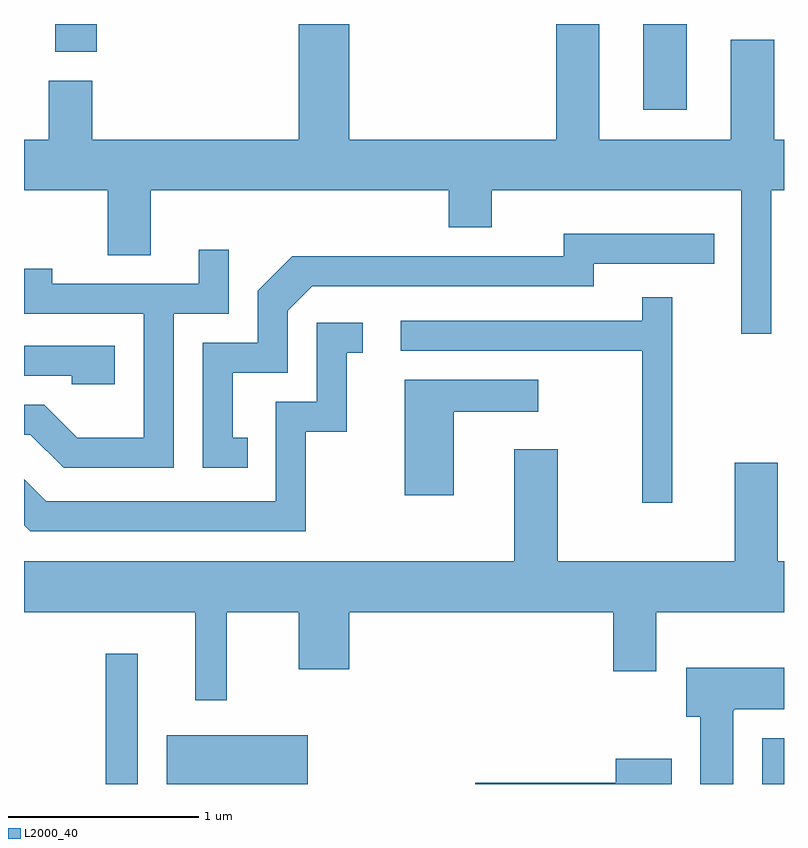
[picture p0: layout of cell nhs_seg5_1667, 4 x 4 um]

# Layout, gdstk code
import gdstk
lib = gdstk.Library(unit=1e-6, precision=1e-09)
def R(c, l, rs):  # rectangles x0, y0, x1, y1
    for r in rs: c.add(gdstk.rectangle(r[:2], r[2:], *l))
def P(c, l, *ps):  # polygons
    for p in ps: c.add(gdstk.Polygon(p, *l))
L2000_40 = (2000, 40)

nhs_seg5_1667 = lib.new_cell('nhs_seg5_1667')
R(nhs_seg5_1667, L2000_40, [(234.041,1498.072,234.209,1498.758), (234.361,1498.072,235.104,1498.329), (237.496,1498.072,237.611,1498.314), (236.871,1501.621,237.099,1502.072), (233.776,1501.926,233.994,1502.072)])
P(nhs_seg5_1667, L2000_40, [(237.331,1501.464),(236.639,1501.464),(236.639,1502.072),(236.411,1502.072),(236.411,1501.464),(235.324,1501.464),(235.324,1502.072),(235.056,1502.072),(235.056,1501.464),(233.969,1501.464),(233.969,1501.774),(233.741,1501.774),(233.741,1501.464),(233.611,1501.464),(233.611,1501.196),(234.051,1501.196),(234.051,1500.856),(234.279,1500.856),(234.279,1501.196),(235.846,1501.196),(235.846,1501.001),(236.074,1501.001),(236.074,1501.196),(237.386,1501.196),(237.386,1500.443),(237.544,1500.443),(237.544,1501.196),(237.611,1501.196),(237.611,1501.464),(237.559,1501.464),(237.559,1501.989),(237.331,1501.989)],
  [(234.788,1499.894),(234.709,1499.894),(234.709,1500.236),(234.999,1500.236),(234.999,1500.564),(235.127,1500.691),(236.609,1500.691),(236.609,1500.811),(237.243,1500.811),(237.243,1500.969),(236.451,1500.969),(236.451,1500.849),(235.024,1500.849),(234.841,1500.667),(234.841,1500.394),(234.551,1500.394),(234.551,1499.736),(234.788,1499.736)],
  [(234.399,1500.546),(234.689,1500.546),(234.689,1500.883),(234.531,1500.883),(234.531,1500.704),(233.759,1500.704),(233.759,1500.783),(233.611,1500.783),(233.611,1500.546),(234.241,1500.546),(234.241,1499.894),(233.892,1499.894),(233.717,1500.069),(233.611,1500.069),(233.611,1499.911),(233.644,1499.911),(233.819,1499.736),(234.399,1499.736)],
  [(237.024,1500.633),(236.866,1500.633),(236.866,1500.509),(235.593,1500.509),(235.593,1500.351),(236.866,1500.351),(236.866,1499.553),(237.024,1499.553)],
  [(235.094,1499.926),(235.309,1499.926),(235.309,1500.341),(235.393,1500.341),(235.393,1500.499),(235.151,1500.499),(235.151,1500.084),(234.936,1500.084),(234.936,1499.559),(233.727,1499.559),(233.611,1499.675),(233.611,1499.434),(233.644,1499.401),(235.094,1499.401)],
  [(234.089,1500.379),(233.611,1500.379),(233.611,1500.221),(233.861,1500.221),(233.861,1500.176),(234.089,1500.176)],
  [(235.874,1500.031),(236.318,1500.031),(236.318,1500.199),(235.616,1500.199),(235.616,1499.591),(235.874,1499.591)],
  [(233.611,1498.976),(234.511,1498.976),(234.511,1498.513),(234.679,1498.513),(234.679,1498.976),(235.056,1498.976),(235.056,1498.676),(235.324,1498.676),(235.324,1498.976),(236.711,1498.976),(236.711,1498.666),(236.939,1498.666),(236.939,1498.976),(237.611,1498.976),(237.611,1499.244),(237.579,1499.244),(237.579,1499.764),(237.351,1499.764),(237.351,1499.244),(236.419,1499.244),(236.419,1499.834),(236.191,1499.834),(236.191,1499.244),(233.611,1499.244)],
  [(237.344,1498.46),(237.35,1498.46),(237.35,1498.466),(237.611,1498.466),(237.611,1498.684),(237.096,1498.684),(237.096,1498.426),(237.171,1498.426),(237.171,1498.072),(237.344,1498.072)],
  [(237.019,1498.204),(236.726,1498.204),(236.726,1498.079),(235.986,1498.079),(235.986,1498.072),(237.019,1498.072)])

lib.write_gds('nhs_seg5_1667.gds')
